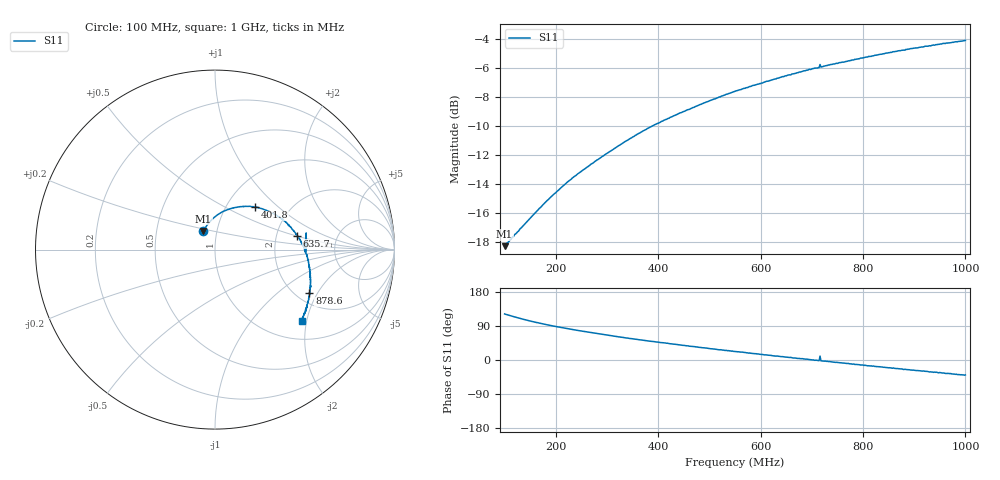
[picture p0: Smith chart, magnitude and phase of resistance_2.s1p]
# HZ S RI R 50
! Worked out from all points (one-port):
!   505 points, 100 MHz to 1 GHz, reference 50 ohm
!   lowest |S11| = -18.3 dB at 100 MHz (marker M1), VSWR 1.28, Z = 43.1 + j9.1 ohm
!   |S11| at or under -10 dB: start of sweep to 387 MHz
!   S11 on the Smith chart (normalised r, x): 100 MHz: 0.86, +0.18; 401.8 MHz: 1.36, +0.72; 635.7 MHz: 2.61, +0.52; 878.6 MHz: 2.33, -1.71; 1 GHz: 1.43, -1.87
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1e8  -0.0641 0.1041
1.571428e8  -0.0292 0.1546
2.125e8  0.0165 0.1953
2.678571e8  0.0704 0.2229
3.25e8  0.1326 0.2379
3.589285e8  0.173 0.2413
4.017857e8  0.2232 0.2365
4.374999e8  0.2642 0.2267
4.982142e8  0.3308 0.1984
5.499999e8  0.386 0.1596
5.660714e8  0.4002 0.1478
6.357142e8  0.4577 0.0782
6.624999e8  0.4773 0.0472
6.92857e8  0.4942 0.0149
7.107142e8  0.502 -0.00879
7.124999e8  0.5035 -0.015
7.196428e8  0.507 -0.0227
7.214285e8  0.5072 -0.024
7.749999e8  0.5249 -0.0945
8.107142e8  0.5316 -0.1439
8.339285e8  0.5327 -0.1739
8.785713e8  0.5256 -0.2439
8.874999e8  0.5284 -0.2478
9.214284e8  0.5184 -0.2973
9.339284e8  0.5107 -0.3163
9.535713e8  0.5048 -0.3385
9.874999e8  0.4848 -0.3871
9.999999e8  0.4828 -0.3974
